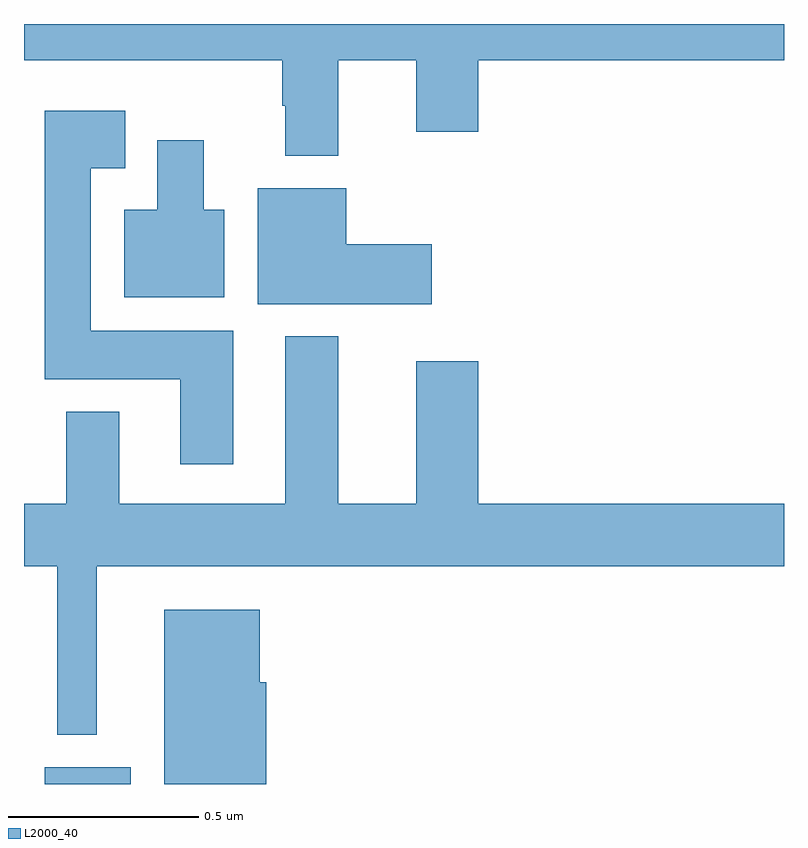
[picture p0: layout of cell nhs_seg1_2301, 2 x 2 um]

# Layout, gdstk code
import gdstk
lib = gdstk.Library(unit=1e-6, precision=1e-09)
def R(c, l, rs):  # rectangles x0, y0, x1, y1
    for r in rs: c.add(gdstk.rectangle(r[:2], r[2:], *l))
def P(c, l, *ps):  # polygons
    for p in ps: c.add(gdstk.Polygon(p, *l))
L2000_40 = (2000, 40)

nhs_seg1_2301 = lib.new_cell('nhs_seg1_2301')
R(nhs_seg1_2301, L2000_40, [(140.054,511.199,140.281,511.243)])
P(nhs_seg1_2301, L2000_40, [(140.827,513.104),(141.032,513.104),(141.032,512.916),(141.196,512.916),(141.196,513.104),(142,513.104),(142,513.199),(140,513.199),(140,513.104),(140.68,513.104),(140.68,512.984),(140.687,512.984),(140.687,512.852),(140.827,512.852)],
  [(140.551,512.392),(140.176,512.392),(140.176,512.819),(140.266,512.819),(140.266,512.971),(140.054,512.971),(140.054,512.264),(140.411,512.264),(140.411,512.04),(140.551,512.04)],
  [(140.527,512.71),(140.473,512.71),(140.473,512.893),(140.351,512.893),(140.351,512.71),(140.264,512.71),(140.264,512.48),(140.527,512.48)],
  [(141.073,512.62),(140.848,512.62),(140.848,512.767),(140.615,512.767),(140.615,512.462),(141.073,512.462)],
  [(140.191,511.772),(142,511.772),(142,511.936),(141.196,511.936),(141.196,512.311),(141.032,512.311),(141.032,511.936),(140.827,511.936),(140.827,512.377),(140.687,512.377),(140.687,511.936),(140.251,511.936),(140.251,512.179),(140.111,512.179),(140.111,511.936),(140,511.936),(140,511.772),(140.087,511.772),(140.087,511.328),(140.191,511.328)],
  [(140.638,511.467),(140.62,511.467),(140.62,511.657),(140.369,511.657),(140.369,511.199),(140.638,511.199)])

lib.write_gds('nhs_seg1_2301.gds')
